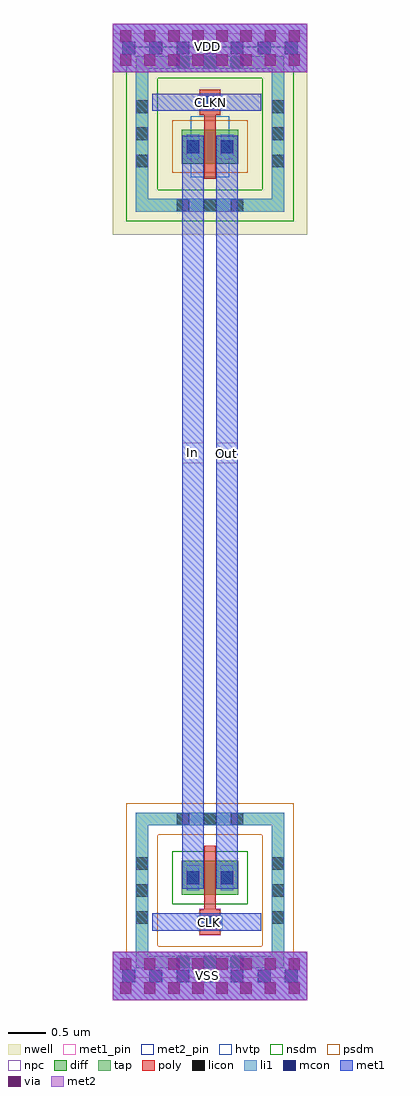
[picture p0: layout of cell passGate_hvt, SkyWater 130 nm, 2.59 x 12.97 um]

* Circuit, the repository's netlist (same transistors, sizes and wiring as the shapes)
* Extracted by KLayout with SKY130 LVS runset on : 03/11/2024 02:36

.SUBCKT passGate_hvt CLK In Out CLKN VDD sky130_gnd
M$1 In CLKN Out VDD sky130_fd_pr__pfet_01v8_hvt L=0.15 W=0.45 AS=0.135 AD=0.135
+ PS=1.5 PD=1.5
M$2 In CLK Out sky130_gnd sky130_fd_pr__nfet_01v8 L=0.15 W=0.45 AS=0.135
+ AD=0.135 PS=1.5 PD=1.5
.ENDS passGate_hvt

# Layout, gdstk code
import gdstk
lib = gdstk.Library(unit=1e-6, precision=1e-09)
def R(c, l, rs):  # rectangles x0, y0, x1, y1
    for r in rs: c.add(gdstk.rectangle(r[:2], r[2:], *l))
def A(c, l, x, y, w, h, nx, ny, dx, dy):  # array of equal rectangles
    R(c, l, [(x+i*dx, y+j*dy, x+i*dx+w, y+j*dy+h) for i in range(nx) for j in range(ny)])
def P(c, l, *ps):  # polygons
    for p in ps: c.add(gdstk.Polygon(p, *l))
nwell = (64, 20)
diff = (65, 20)
tap = (65, 44)
poly = (66, 20)
licon = (66, 44)
li1 = (67, 20)
mcon = (67, 44)
met1_pin = (68, 16)
met1 = (68, 20)
via = (68, 44)
met2_pin = (69, 16)
met2 = (69, 20)
hvtp = (78, 44)
nsdm = (93, 44)
psdm = (94, 20)
npc = (95, 20)

nfet_1 = lib.new_cell('nfet$1')
R(nfet_1, diff, [(0,0,0.75,0.45)])
P(nfet_1, tap, [(-0.615,-0.98),(-0.615,0.92),(-0.445,0.92),(-0.445,-0.81),(1.195,-0.81),(1.195,0.92),(-0.615,0.92),(-0.615,1.09),(1.365,1.09),(1.365,-0.98)])
R(nfet_1, poly, [(0.24,-0.53,0.51,-0.2), (0.3,-0.2,0.45,0.65)])
A(nfet_1, licon, -0.07, -0.98, 0.17, 0.17, 3, 2, 0.36, 1.9)
A(nfet_1, licon, -0.615, -0.39, 0.17, 0.17, 1, 3, 0, 0.36)
A(nfet_1, licon, 1.195, -0.39, 0.17, 0.17, 1, 3, 0, 0.36)
R(nfet_1, licon, [(0.29,-0.45,0.46,-0.28), (0.065,0.14,0.235,0.31), (0.515,0.14,0.685,0.31)])
R(nfet_1, li1, [(0.21,-0.45,0.54,-0.28), (0.065,0.06,0.235,0.39), (0.515,0.06,0.685,0.39)])
P(nfet_1, li1, [(-0.615,-0.98),(-0.615,0.92),(-0.445,0.92),(-0.445,-0.81),(1.195,-0.81),(1.195,0.92),(-0.615,0.92),(-0.615,1.09),(1.365,1.09),(1.365,-0.98)])
R(nfet_1, mcon, [(0.29,-0.45,0.46,-0.28), (0.065,0.14,0.235,0.31), (0.515,0.14,0.685,0.31)])
R(nfet_1, met1, [(0.19,-0.48,0.56,-0.25), (0.005,0.08,0.295,0.37), (0.455,0.08,0.745,0.37)])
R(nfet_1, nsdm, [(-0.125,-0.125,0.875,0.575)])
P(nfet_1, psdm, [(-0.74,-1.105),(-0.74,0.795),(-0.32,0.795),(-0.32,-0.685),(1.07,-0.685),(1.07,0.795),(-0.74,0.795),(-0.74,1.215),(1.49,1.215),(1.49,-1.105)])
R(nfet_1, npc, [(0.23,-0.54,0.52,-0.19)])

vias_gen_1 = lib.new_cell('vias_gen$1')
R(vias_gen_1, li1, [(0,0,2.59,0.64)])
A(vias_gen_1, mcon, 0.13, 0.235, 0.17, 0.17, 7, 1, 0.36, 0)
R(vias_gen_1, met1, [(0,0,2.59,0.64)])
A(vias_gen_1, via, 0.1, 0.085, 0.15, 0.15, 8, 2, 0.32, 0.32)
R(vias_gen_1, met2, [(0,0,2.59,0.64)])

pfet_1 = lib.new_cell('pfet$1')
R(pfet_1, nwell, [(-0.92,-0.945,1.67,1.735)])
R(pfet_1, diff, [(0,0,0.75,0.45)])
P(pfet_1, tap, [(-0.615,-0.64),(-0.615,1.26),(-0.445,1.26),(-0.445,-0.47),(1.195,-0.47),(1.195,1.26),(-0.615,1.26),(-0.615,1.43),(1.365,1.43),(1.365,-0.64)])
R(pfet_1, poly, [(0.3,-0.2,0.45,0.65), (0.24,0.65,0.51,0.98)])
A(pfet_1, licon, -0.07, -0.64, 0.17, 0.17, 3, 2, 0.36, 1.9)
A(pfet_1, licon, -0.615, -0.05, 0.17, 0.17, 1, 3, 0, 0.36)
A(pfet_1, licon, 1.195, -0.05, 0.17, 0.17, 1, 3, 0, 0.36)
R(pfet_1, licon, [(0.065,0.14,0.235,0.31), (0.515,0.14,0.685,0.31), (0.29,0.73,0.46,0.9)])
R(pfet_1, li1, [(0.065,0.06,0.235,0.39), (0.515,0.06,0.685,0.39), (0.21,0.73,0.54,0.9)])
P(pfet_1, li1, [(-0.615,-0.64),(-0.615,1.26),(-0.445,1.26),(-0.445,-0.47),(1.195,-0.47),(1.195,1.26),(-0.615,1.26),(-0.615,1.43),(1.365,1.43),(1.365,-0.64)])
R(pfet_1, mcon, [(0.065,0.14,0.235,0.31), (0.515,0.14,0.685,0.31), (0.29,0.73,0.46,0.9)])
R(pfet_1, met1, [(0.005,0.08,0.295,0.37), (0.455,0.08,0.745,0.37), (0.19,0.7,0.56,0.93)])
R(pfet_1, hvtp, [(0.12,-0.18,0.63,0.63)])
P(pfet_1, nsdm, [(-0.74,-0.765),(-0.74,1.135),(-0.32,1.135),(-0.32,-0.345),(1.07,-0.345),(1.07,1.135),(-0.74,1.135),(-0.74,1.555),(1.49,1.555),(1.49,-0.765)])
R(pfet_1, psdm, [(-0.125,-0.125,0.875,0.575)])
R(pfet_1, npc, [(0.23,0.64,0.52,0.99)])

passgate_hvt = lib.new_cell('passGate_hvt')
R(passgate_hvt, met1_pin, [(-0.255,-1.445,1.195,-1.215), (0.145,4.77,0.435,5.04), (0.595,4.77,0.885,5.04), (-0.255,9.45,1.195,9.68)])
R(passgate_hvt, met1, [(-0.255,-1.445,1.195,-1.215), (0.145,-0.595,0.435,8.83), (0.595,-0.595,0.885,8.83), (-0.255,9.45,1.195,9.68)])
R(passgate_hvt, met2_pin, [(-0.78,-2.365,1.81,-1.725), (-0.78,9.965,1.81,10.605)])
passgate_hvt.add(gdstk.Reference(nfet_1, (0.14,-0.965)))
passgate_hvt.add(gdstk.Reference(vias_gen_1, (-0.78,-2.365)))
passgate_hvt.add(gdstk.Reference(vias_gen_1, (-0.78,9.965)))
passgate_hvt.add(gdstk.Reference(pfet_1, (0.14,8.75)))
passgate_hvt.add(gdstk.Label('CLK', (0.505,-1.33), layer=68, texttype=5))
passgate_hvt.add(gdstk.Label('In', (0.28,4.905), layer=68, texttype=5))
passgate_hvt.add(gdstk.Label('Out', (0.74,4.9), layer=68, texttype=5))
passgate_hvt.add(gdstk.Label('CLKN', (0.515,9.565), layer=68, texttype=5))
passgate_hvt.add(gdstk.Label('VDD', (0.485,10.31), layer=69, texttype=5))
passgate_hvt.add(gdstk.Label('VSS', (0.485,-2.035), layer=69, texttype=5))

lib.write_gds('passGate_hvt.gds')
